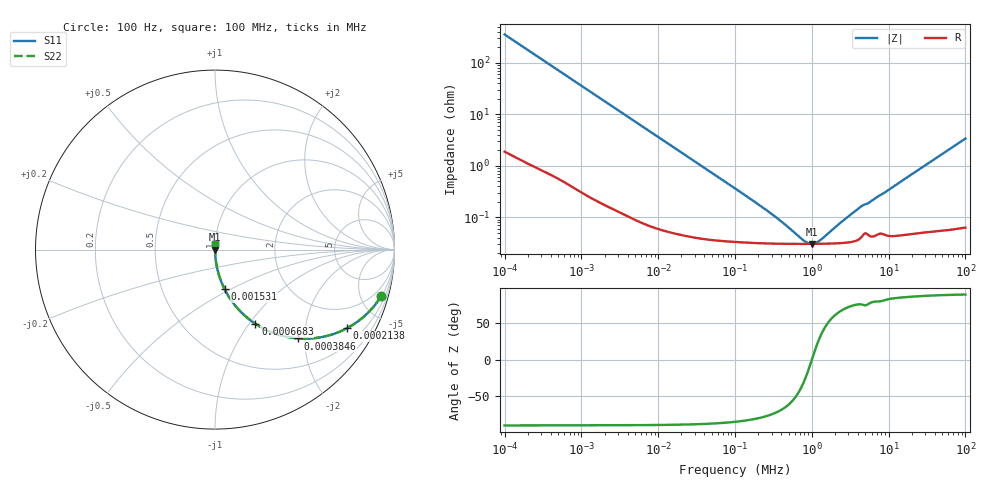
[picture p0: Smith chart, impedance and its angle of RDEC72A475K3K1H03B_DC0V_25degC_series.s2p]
!Murata Part Number: RDEC72A475K3K1H03B
!These Parameters are Measured in Series Mode Connection
!  o--ll--o
!Port1  Port2
!  o------o
!Operation Temp=25[degC], DC Bias Voltage=0[V]
!Freq. Start=100[Hz] Stop=100[MHz], 401[Steps]
!Data Generated on Apr 21, 2023
# Hz S RI R 50
!Freq.(Hz) S11(Real) S11(Imag) S21(Real) S21(Imag) S12(Real) S12(Imag) S22(Real) S22(Imag)
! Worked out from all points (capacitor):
!   401 points, 100 Hz to 100 MHz, reference 50 ohm
!   read as one part in series: C = 4.48 uF near 107.2 Hz
!   lowest |Z| = 30.6 mohm at 1.012 MHz (marker M1)
!   series resonance near 1.001 MHz, so ESL is about 5.6 nH
!   S11 on the Smith chart (normalised r, x): 100 Hz: 1.04, -7.10; 213.8 Hz: 1.02, -3.33; 384.6 Hz: 1.01, -1.86; 668.3 Hz: 1.01, -1.07; 1.531 kHz: 1.00, -0.47; 100 MHz: 1.00, +0.07
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100  0.9254 -0.2602  0.0746 0.2602  0.0746 0.2602  0.9254 -0.2602
146.2177  0.854 -0.3503  0.146 0.3503  0.146 0.3503  0.854 -0.3503
213.7962  0.7338 -0.4388  0.2662 0.4388  0.2662 0.4388  0.7338 -0.4388
291.7427  0.5984 -0.4868  0.4016 0.4868  0.4016 0.4868  0.5984 -0.4868
384.5918  0.4632 -0.4949  0.5368 0.4949  0.5368 0.4949  0.4632 -0.4949
668.3439  0.2249 -0.4135  0.7751 0.4135  0.7751 0.4135  0.2249 -0.4135
1011.579  0.1139 -0.3134  0.8861 0.3134  0.8861 0.3134  0.1139 -0.3134
1531.087  0.0541 -0.2217  0.9459 0.2217  0.9459 0.2217  0.0541 -0.2217
3507.519  0.0116 -0.1017  0.9884 0.1017  0.9884 0.1017  0.0116 -0.1017
10232.93  0.00184 -0.0354  0.9982 0.0354  0.9982 0.0354  0.00184 -0.0354
100000  0.000347 -0.00364  0.9997 0.00364  0.9997 0.00364  0.000347 -0.00364
323593.7  0.00031 -0.00102  0.9997 0.00102  0.9997 0.00102  0.00031 -0.00102
794328.2  0.000306 -0.000173  0.9997 0.000173  0.9997 0.000173  0.000306 -0.000173
912010.8  0.000306 -6.9e-05  0.9997 6.9e-05  0.9997 6.9e-05  0.000306 -6.9e-05
1011579  0.000306 7.82e-06  0.9997 -7.82e-06  0.9997 -7.82e-06  0.000306 7.82e-06
1122018  0.000306 8.48e-05  0.9997 -8.48e-05  0.9997 -8.48e-05  0.000306 8.48e-05
1288250  0.000307 0.000189  0.9997 -0.000189  0.9997 -0.000189  0.000307 0.000189
2398833  0.000317 0.000736  0.9997 -0.000736  0.9997 -0.000736  0.000317 0.000736
4315191  0.0004 0.00155  0.9996 -0.00155  0.9996 -0.00155  0.0004 0.00155
5688529  0.000438 0.00192  0.9996 -0.00192  0.9996 -0.00192  0.000438 0.00192
1.023293e7  0.000447 0.00347  0.9996 -0.00347  0.9996 -0.00347  0.000447 0.00347
1e8  0.00178 0.0338  0.9982 -0.0338  0.9982 -0.0338  0.00178 0.0338
